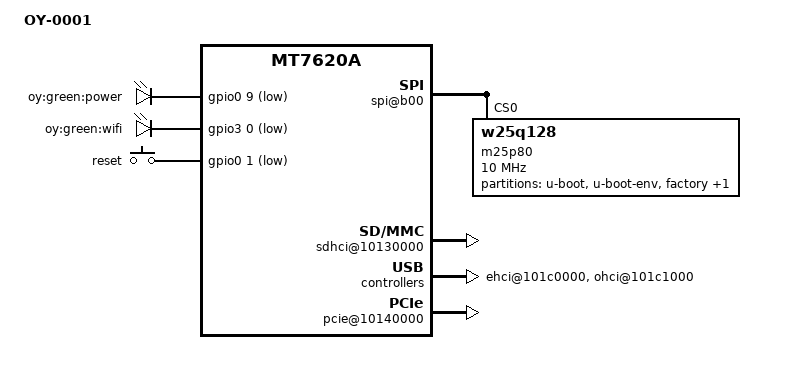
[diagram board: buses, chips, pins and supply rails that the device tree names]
/dts-v1/;

/include/ "mt7620a.dtsi"

/ {
	compatible = "ralink,mt7620a-soc";
	model = "OY-0001";

        chosen {
                bootargs = "console=ttyS0,115200";
        };

	palmbus@10000000 {
		gpio2: gpio@660 {
			status = "okay";
		};

		gpio3: gpio@688 {
			status = "okay";
		};

		spi@b00 {
			status = "okay";

			m25p80@0 {
				#address-cells = <1>;
				#size-cells = <1>;
				compatible = "w25q128";
				reg = <0 0>;
				linux,modalias = "m25p80", "w25q128";
				spi-max-frequency = <10000000>;

				partition@0 {
					label = "u-boot";
					reg = <0x0 0x30000>;
					read-only;
				};

				partition@30000 {
					label = "u-boot-env";
					reg = <0x30000 0x10000>;
					read-only;
				};

				factory: partition@40000 {
					label = "factory";
					reg = <0x40000 0x10000>;
					read-only;
				};

				partition@50000 {
					label = "firmware";
					reg = <0x50000 0xfb0000>;
				};

			};
		};
	};

	pinctrl {
		state_default: pinctrl0 {
			gpio {
				ralink,group = "i2c", "uartf", "rgmii1", "rgmii2", "wled", "nd_sd";
				ralink,function = "gpio";
			};
		};
	};

	ethernet@10100000 {
		pinctrl-names = "default";
		pinctrl-0 = <&ephy_pins>;

		ralink,port-map = "llllw";
	};

	gsw@10110000 {
		ralink,port4 = "ephy";
	};

	wmac@10180000 {
		ralink,mtd-eeprom = <&factory 0>;
	};

	gpio-leds {
		compatible = "gpio-leds";
		powerled {
			label = "oy:green:power";
			gpios = <&gpio0 9 1>;
		};
		wifiled {
			label = "oy:green:wifi";
			gpios = <&gpio3 0 1>;
		};
	};

	sdhci@10130000 {
		status = "okay";
	};

	ehci@101c0000 {
		status = "okay";
	};

	ohci@101c1000 {
		status = "okay";
	};

	pcie@10140000 {
		status = "okay";
	};

	gpio-keys-polled {
		compatible = "gpio-keys-polled";
		#address-cells = <1>;
		#size-cells = <0>;
		poll-interval = <20>;
		s1 {
			label = "reset";
			gpios = <&gpio0 1 1>;
			linux,code = <0x198>;
		};
	};
};
